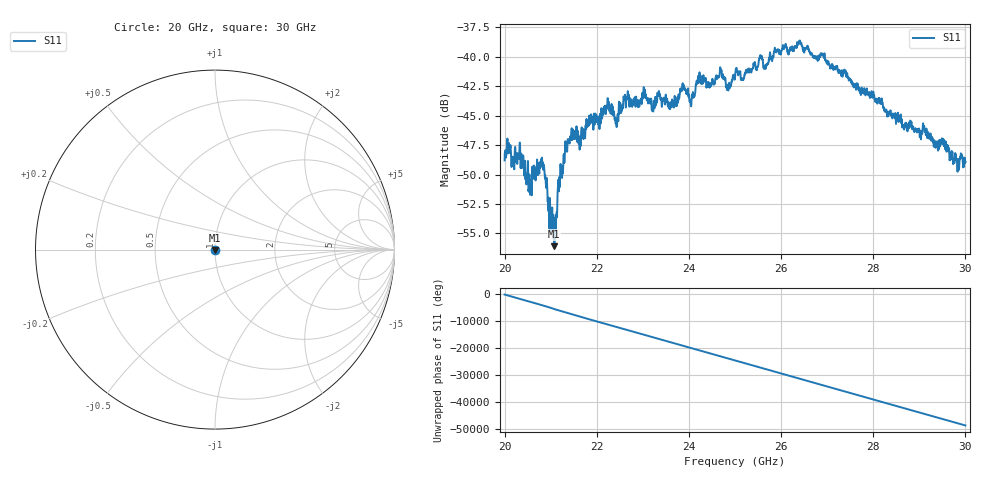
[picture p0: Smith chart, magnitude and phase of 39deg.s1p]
#  HZ  S  RI  R  50.00
! Rohde & Schwarz ZVA40 4Ports - Version 3.90 - 1145.1110k42 SN: 100403
! Date: 2023-10-03 11:52:21
! Measurement: S12
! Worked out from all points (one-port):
!   5001 points, 20 GHz to 30 GHz, reference 50 ohm
!   lowest |S11| = -56.1 dB at 21.08 GHz (marker M1), VSWR 1.00, Z = 50 - j0.156 ohm
!   |S11| at or under -10 dB: start of sweep to end of sweep
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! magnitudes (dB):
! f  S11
! 20 GHz  -48.8
! 20.09 GHz  -47.6
! 20.36 GHz  -48.2
! 20.56 GHz  -50.7
! 20.81 GHz  -48.7
! 20.98 GHz  -52.4
! 21.08 GHz  -56.1
! 21.25 GHz  -49.9
! 21.46 GHz  -46.3
! 21.67 GHz  -46.1
! 22.22 GHz  -44.4
! 22.42 GHz  -45.5
! 22.5 GHz  -43.9
! 23.03 GHz  -43.1
! 23.23 GHz  -43.8
! 23.34 GHz  -43.3
! 23.75 GHz  -43.5
! 23.88 GHz  -42.4
! 24.06 GHz  -43.3
! 24.21 GHz  -42.2
! 24.71 GHz  -41.1
! 24.85 GHz  -42.9
! 25 GHz  -41.7
! 26.25 GHz  -39.5
! 26.9 GHz  -39.8
! 27.5 GHz  -41.9
! 28.75 GHz  -45.8
! 30 GHz  -48.9
